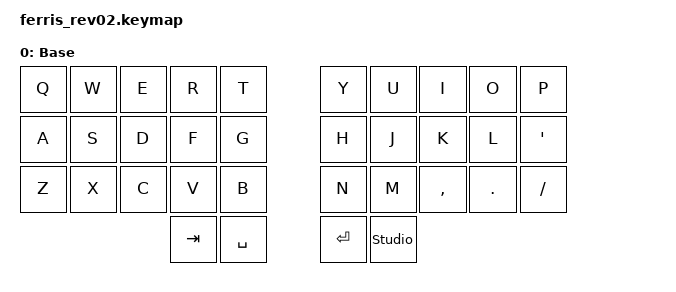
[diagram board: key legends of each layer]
/*
 * Copyright (c) 2020 The ZMK Contributors
 *
 * SPDX-License-Identifier: MIT
 */
#undef ZMK_BEHAVIORS_KEEP_ALL

#include <behaviors.dtsi>
#include <dt-bindings/zmk/keys.h>

/ {
    keymap {
        compatible = "zmk,keymap";

        default_layer {
            display-name = "Base";
            bindings = <
                &kp Q      &kp W      &kp E       &kp R          &kp T         &kp Y            &kp U          &kp I       &kp O      &kp P
                &kp A      &kp S      &kp D       &kp F          &kp G         &kp H            &kp J          &kp K       &kp L      &kp SINGLE_QUOTE
                &kp Z      &kp X      &kp C       &kp V          &kp B         &kp N            &kp M          &kp COMMA   &kp DOT    &kp FSLH
                                                  &kp TAB        &kp SPACE     &kp ENTER        &studio_unlock
            >;
        };
    };
};
